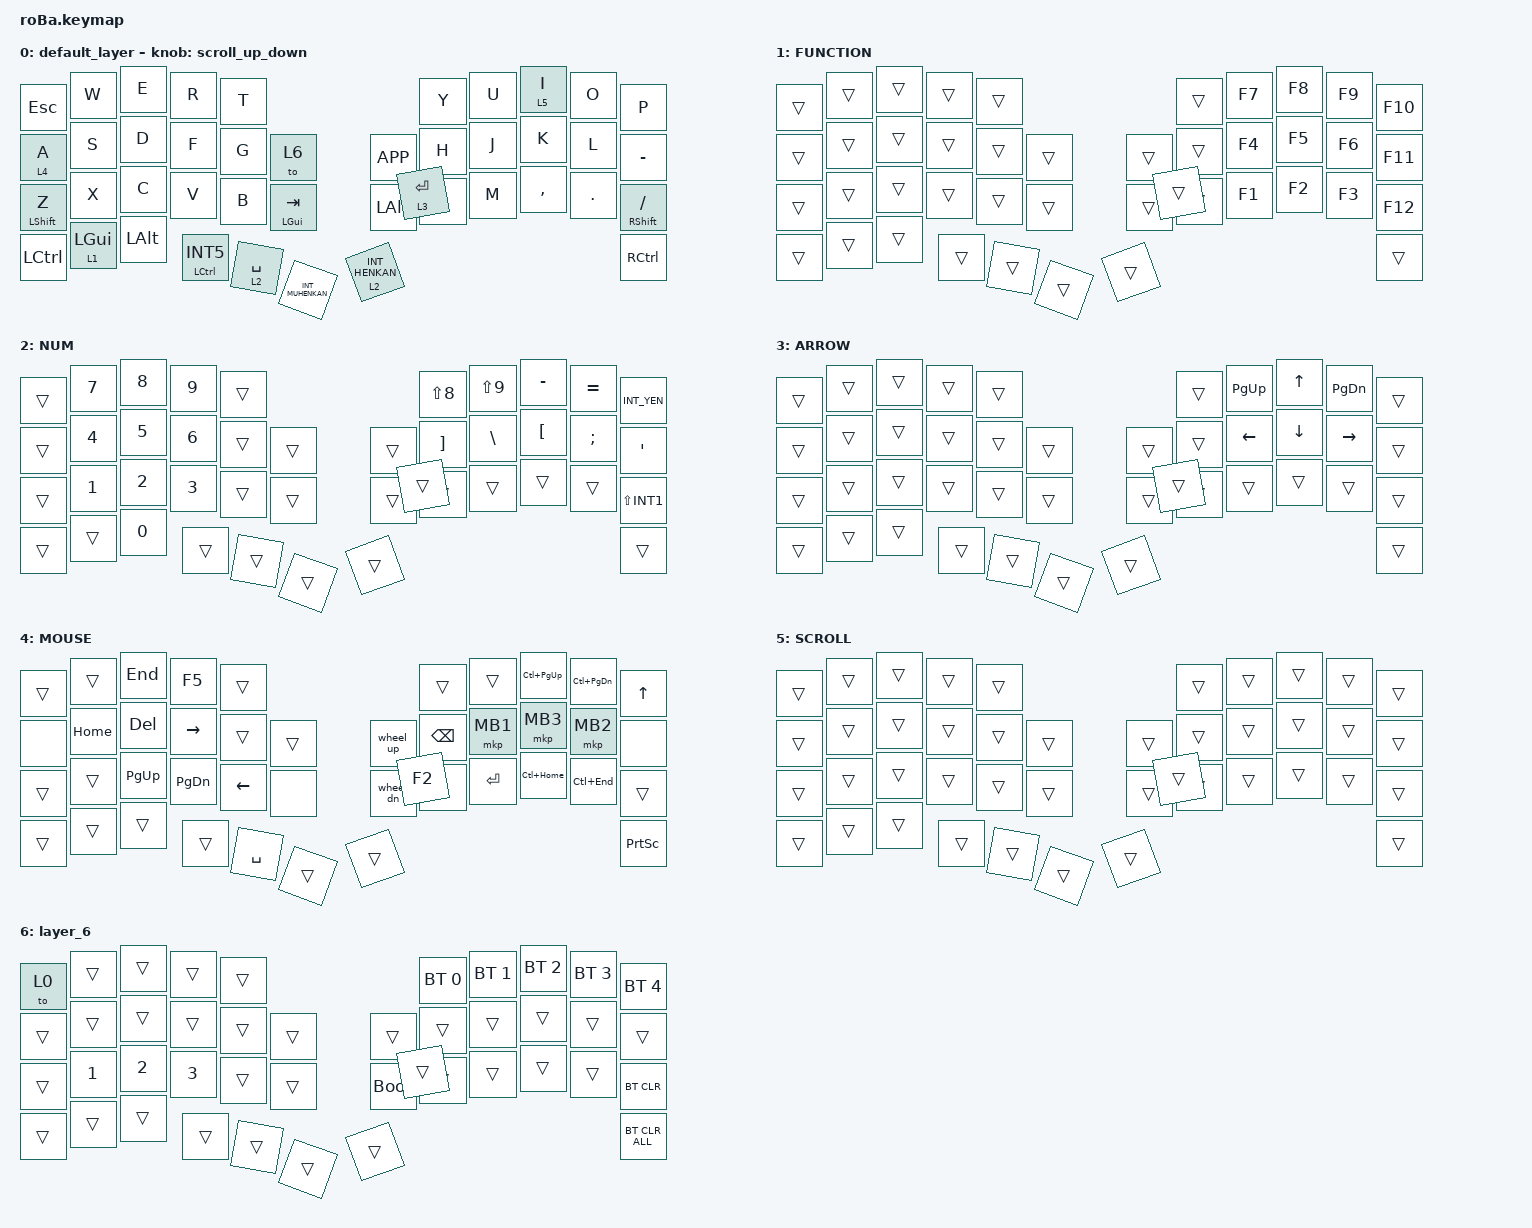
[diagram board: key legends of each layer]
#define ZMK_POINTING_DEFAULT_SCRL_VAL 80

#include <behaviors.dtsi>
#include <dt-bindings/zmk/bt.h>
#include <dt-bindings/zmk/keys.h>
#include <dt-bindings/zmk/pointing.h>

&mt {
    flavor = "balanced";
    quick-tap-ms = <0>;
};

&lt {
    // tapping-term-ms = <135>;  // default: 200
};

&trackball {
    // automouse-layer = <4>;

    scroll-layers = <5>;

    // arrows {
    //     layers = <3>;
    //     bindings =
    //         <&kp RIGHT_ARROW>,
    //         <&kp LEFT_ARROW>,
    //         <&kp UP_ARROW>,
    //         <&kp DOWN_ARROW>;
    //     tick = <10>;
    //     wait-ms = <5>;
    //     tap-ms = <5>;
    // };
};

/ {
    combos {
        compatible = "zmk,combos";

        double_quotation {
            bindings = <&kp LS(N2)>;
            key-positions = <20 21>;
            layers = <0>;
        };

        Qw {
            bindings = <&kp Q>;
            key-positions = <0 1>;
            layers = <0>;
        };
    };

    macros {
        to_layer_0: to_layer_0 {
            compatible = "zmk,behavior-macro-one-param";
            #binding-cells = <1>;
            bindings = <&to 0 &macro_param_1to1 &kp MACRO_PLACEHOLDER>;
            label = "TO_LAYER_0";
        };

        wheel_up: wheel_up {
            compatible = "zmk,behavior-macro";
            #binding-cells = <0>;
            bindings = <&macro_tap>, <&msc SCRL_UP>;
        };

        wheel_dn: wheel_dn {
            compatible = "zmk,behavior-macro";
            #binding-cells = <0>;
            bindings = <&macro_tap>, <&msc SCRL_DOWN>;
        };
    };

    behaviors {
        lt_to_layer_0: lt_to_layer_0 {
            compatible = "zmk,behavior-hold-tap";
            label = "LAYER_TAP_TO_0";
            bindings = <&mo>, <&to_layer_0>;

            #binding-cells = <2>;
            tapping-term-ms = <200>;
        };

        scroll_up_down: behavior_sensor_rotate_mouse_wheel_up_down {
            compatible = "zmk,behavior-sensor-rotate";
            #sensor-binding-cells = <0>;
            bindings = <&wheel_dn>, <&wheel_up>;

            tap-ms = <5>;
        };
    };

    keymap {
        compatible = "zmk,keymap";

        default_layer {
            bindings = <
&kp ESC           &kp W           &kp E         &kp R           &kp T                                                &kp Y        &kp U  &lt 5 I    &kp O    &kp P
&lt 4 A           &kp S           &kp D         &kp F           &kp G        &to 6                 &kp K_APP         &kp H        &kp J  &kp K      &kp L    &kp MINUS
&mt LEFT_SHIFT Z  &kp X           &kp C         &kp V           &kp B        &mt LEFT_GUI TAB      &kp LEFT_ALT      &kp N        &kp M  &kp COMMA  &kp DOT  &mt RSHIFT SLASH
&kp LCTRL         &lt 1 LEFT_GUI  &kp LEFT_ALT  &mt LCTRL INT5  &lt 2 SPACE  &kp INT_MUHENKAN      &lt 2 INT_HENKAN  &lt 3 ENTER                             &kp RIGHT_CONTROL
            >;

            sensor-bindings = <&scroll_up_down>;
        };

        FUNCTION {
            bindings = <
&trans  &trans  &trans  &trans  &trans                      &trans  &kp F7  &kp F8  &kp F9  &kp F10
&trans  &trans  &trans  &trans  &trans  &trans      &trans  &trans  &kp F4  &kp F5  &kp F6  &kp F11
&trans  &trans  &trans  &trans  &trans  &trans      &trans  &trans  &kp F1  &kp F2  &kp F3  &kp F12
&trans  &trans  &trans  &trans  &trans  &trans      &trans  &trans                          &trans
            >;
        };

        NUM {
            bindings = <
&trans  &kp N7  &kp N8  &kp N9  &trans                      &kp LS(N8)         &kp LS(N9)     &kp MINUS         &kp EQUAL  &kp INT_YEN
&trans  &kp N4  &kp N5  &kp N6  &trans  &trans      &trans  &kp RIGHT_BRACKET  &kp BACKSLASH  &kp LEFT_BRACKET  &kp SEMI   &kp APOS
&trans  &kp N1  &kp N2  &kp N3  &trans  &trans      &trans  &trans             &trans         &trans            &trans     &kp LS(INT1)
&trans  &trans  &kp N0  &trans  &trans  &trans      &trans  &trans                                                         &trans
            >;
        };

        ARROW {
            bindings = <
&trans  &trans  &trans  &trans  &trans                      &trans  &kp PAGE_UP  &kp UP    &kp PAGE_DOWN  &trans
&trans  &trans  &trans  &trans  &trans  &trans      &trans  &trans  &kp LEFT     &kp DOWN  &kp RIGHT      &trans
&trans  &trans  &trans  &trans  &trans  &trans      &trans  &trans  &trans       &trans    &trans         &trans
&trans  &trans  &trans  &trans  &trans  &trans      &trans  &trans                                        &trans
            >;
        };

        MOUSE {
            bindings = <
&trans  &trans    &kp END      &kp F5         &trans                            &trans         &trans     &kp LC(PAGE_UP)  &kp LC(PAGE_DOWN)  &kp UP
&none   &kp HOME  &kp DEL      &kp RIGHT      &trans     &trans      &wheel_up  &kp BACKSPACE  &mkp MB1   &mkp MB3         &mkp MB2           &none
&trans  &trans    &kp PAGE_UP  &kp PAGE_DOWN  &kp LEFT   &none       &wheel_dn  &kp DOWN       &kp ENTER  &kp LC(HOME)     &kp LC(END)        &trans
&trans  &trans    &trans       &trans         &kp SPACE  &trans      &trans     &kp F2                                                        &kp PRINTSCREEN
            >;
        };

        SCROLL {
            bindings = <
&trans  &trans  &trans  &trans  &trans                      &trans  &trans  &trans  &trans  &trans
&trans  &trans  &trans  &trans  &trans  &trans      &trans  &trans  &trans  &trans  &trans  &trans
&trans  &trans  &trans  &trans  &trans  &trans      &trans  &trans  &trans  &trans  &trans  &trans
&trans  &trans  &trans  &trans  &trans  &trans      &trans  &trans                          &trans
            >;
        };

        layer_6 {
            bindings = <
&to 0   &trans        &trans        &trans        &trans                           &bt BT_SEL 0  &bt BT_SEL 1  &bt BT_SEL 2  &bt BT_SEL 3  &bt BT_SEL 4
&trans  &trans        &trans        &trans        &trans  &trans      &trans       &trans        &trans        &trans        &trans        &trans
&trans  &kp NUMBER_1  &kp NUMBER_2  &kp NUMBER_3  &trans  &trans      &bootloader  &trans        &trans        &trans        &trans        &bt BT_CLR
&trans  &trans        &trans        &trans        &trans  &trans      &trans       &trans                                                  &bt BT_CLR_ALL
            >;
        };
    };
};
